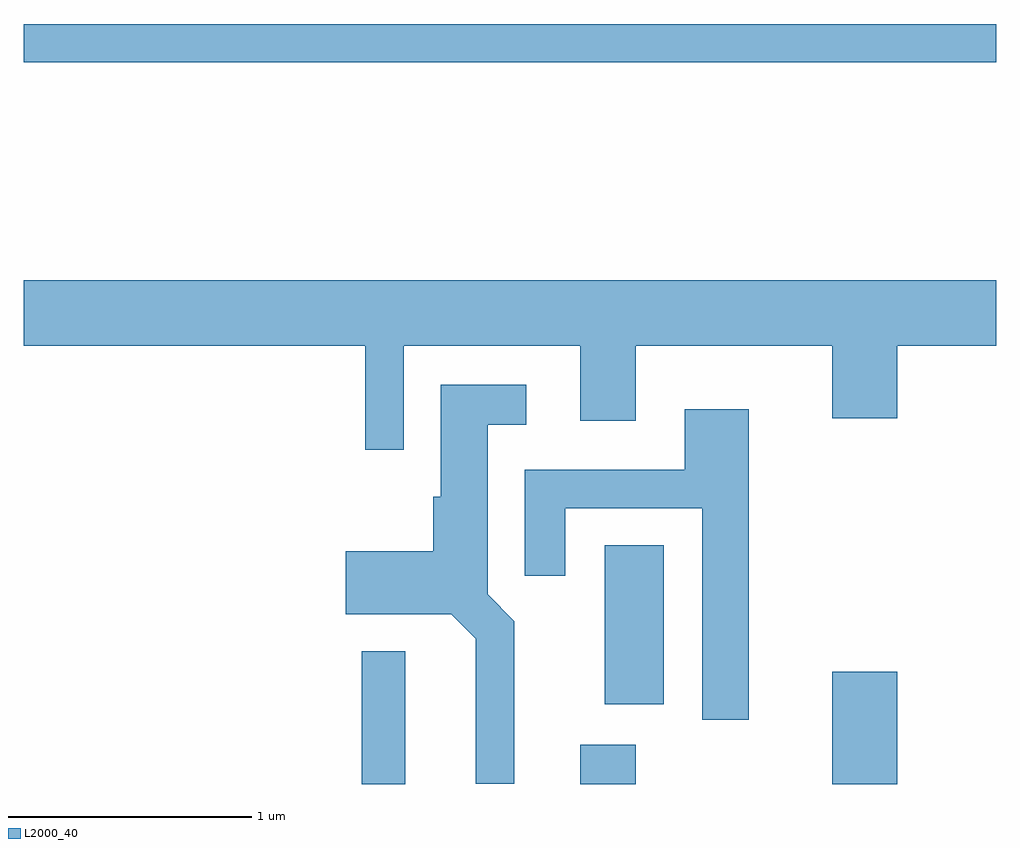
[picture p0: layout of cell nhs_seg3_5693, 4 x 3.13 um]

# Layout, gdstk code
import gdstk
lib = gdstk.Library(unit=1e-6, precision=1e-09)
def R(c, l, rs):  # rectangles x0, y0, x1, y1
    for r in rs: c.add(gdstk.rectangle(r[:2], r[2:], *l))
def P(c, l, *ps):  # polygons
    for p in ps: c.add(gdstk.Polygon(p, *l))
L2000_40 = (2000, 40)

nhs_seg3_5693 = lib.new_cell('nhs_seg3_5693')
R(nhs_seg3_5693, L2000_40, [(353.001,1221.892,353.179,1222.439), (353.901,1221.892,354.129,1222.054), (354.936,1221.892,355.204,1222.354), (354.001,1222.221,354.244,1222.874), (351.611,1224.861,355.611,1225.019)])
P(nhs_seg3_5693, L2000_40, [(353.174,1223.696),(353.901,1223.696),(353.901,1223.386),(354.129,1223.386),(354.129,1223.696),(354.936,1223.696),(354.936,1223.396),(355.204,1223.396),(355.204,1223.696),(355.611,1223.696),(355.611,1223.964),(351.611,1223.964),(351.611,1223.696),(353.016,1223.696),(353.016,1223.268),(353.174,1223.268)],
  [(353.629,1222.562),(353.519,1222.672),(353.519,1223.371),(353.678,1223.371),(353.678,1223.534),(353.326,1223.534),(353.326,1223.074),(353.296,1223.074),(353.296,1222.849),(352.936,1222.849),(352.936,1222.591),(353.369,1222.591),(353.471,1222.489),(353.471,1221.893),(353.629,1221.893)],
  [(354.594,1223.434),(354.331,1223.434),(354.331,1223.184),(353.671,1223.184),(353.671,1222.748),(353.839,1222.748),(353.839,1223.026),(354.401,1223.026),(354.401,1222.156),(354.594,1222.156)])

lib.write_gds('nhs_seg3_5693.gds')
